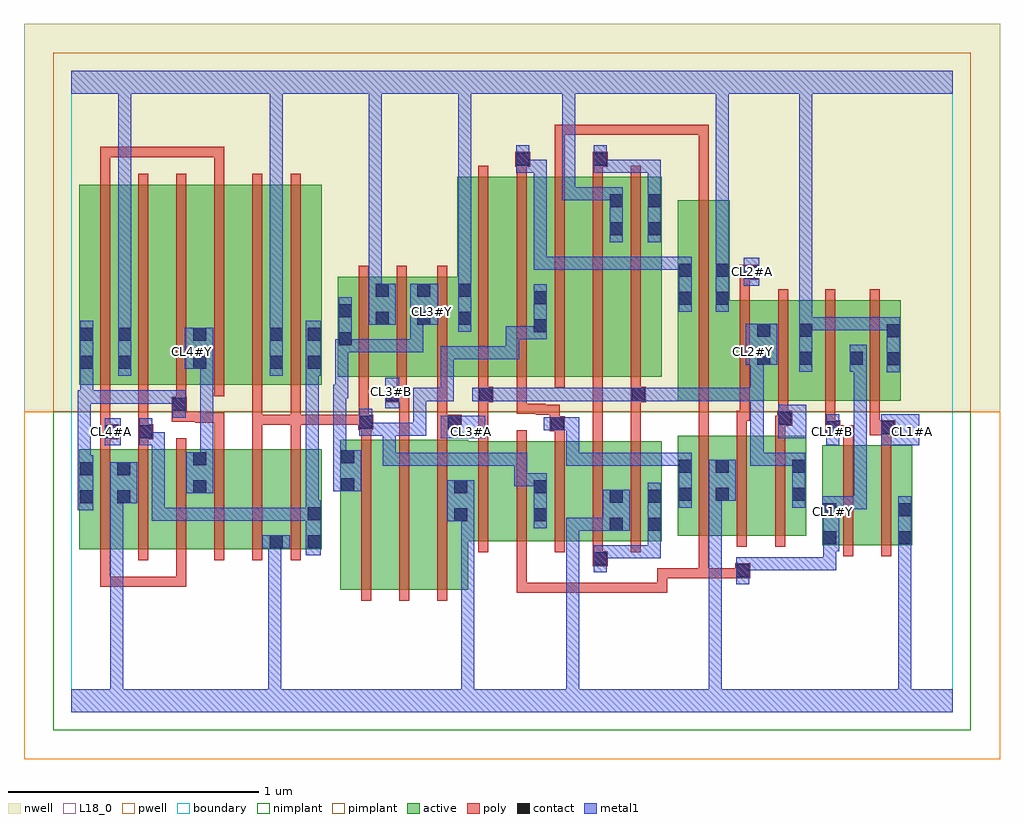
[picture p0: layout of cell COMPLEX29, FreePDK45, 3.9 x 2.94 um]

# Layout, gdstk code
import gdstk
lib = gdstk.Library(unit=1e-6, precision=1e-09)
def R(c, l, rs):  # rectangles x0, y0, x1, y1
    for r in rs: c.add(gdstk.rectangle(r[:2], r[2:], *l))
def A(c, l, x, y, w, h, nx, ny, dx, dy):  # array of equal rectangles
    R(c, l, [(x+i*dx, y+j*dy, x+i*dx+w, y+j*dy+h) for i in range(nx) for j in range(ny)])
active = (1, 0)
pwell = (2, 0)
nwell = (3, 0)
nimplant = (4, 0)
pimplant = (5, 0)
poly = (9, 0)
contact = (10, 0)
metal1 = (11, 0)
L18_0 = (18, 0)
boundary = (235, 0)

complex29 = lib.new_cell('COMPLEX29')
R(complex29, active, [(1.074,0.488,1.254,1.088), (1.254,0.488,1.406,1.088), (1.406,0.488,1.586,1.088), (1.074,0.556,1.134,1.088), (0.032,0.65,0.092,1.05), (0.032,0.65,0.24,1.05), (0.18,0.65,0.364,1.05), (0.364,0.65,0.544,1.05), (0.484,0.65,0.668,1.05), (0.668,0.65,0.848,1.05), (0.788,0.65,1,1.05), (0.788,0.65,0.848,0.752), (0.94,0.65,1,1.05), (2.998,0.666,3.058,1.066), (2.998,0.666,3.178,1.066), (3.178,0.666,3.358,1.066), (3.298,0.666,3.358,1.066), (1.526,0.682,1.722,1.082), (1.722,0.682,1.902,1.082), (1.842,0.682,1.902,1.082), (1.842,0.682,2.026,1.082), (2.026,0.682,2.206,1.082), (2.146,0.682,2.206,1.082), (2.146,0.682,2.358,1.082), (2.298,0.682,2.358,1.082), (0.484,0.69,0.544,1.042), (2.422,0.704,2.482,1.104), (2.422,0.704,2.63,1.104), (2.57,0.704,2.63,1.104), (2.57,0.704,2.754,1.104), (2.754,0.704,2.934,1.104), (2.874,0.704,2.934,1.104), (1.526,0.728,1.586,0.93), (0.18,0.756,0.24,1.002), (2.422,1.244,2.63,2.044), (2.422,1.244,2.482,2.044), (2.57,1.244,2.794,1.644), (2.734,1.244,2.962,1.644), (2.902,1.244,2.962,1.644), (2.902,1.244,3.164,1.644), (3.104,1.244,3.164,1.644), (3.104,1.244,3.312,1.644), (3.252,1.244,3.312,1.644), (2.57,1.256,2.63,1.794), (0.032,1.306,0.244,2.106), (0.032,1.306,0.092,2.044), (0.184,1.306,0.364,2.106), (0.364,1.306,0.544,2.106), (0.484,1.306,0.668,2.106), (0.484,1.306,0.544,2.044), (0.668,1.306,0.848,2.106), (0.788,1.306,0.848,2.106), (0.788,1.306,1,2.106), (0.94,1.306,1,2.106), (1.064,1.338,1.124,1.738), (1.064,1.338,1.272,1.738), (1.212,1.338,1.438,1.738), (1.378,1.338,1.602,1.738), (1.542,1.338,1.722,2.138), (1.722,1.338,1.902,2.138), (1.842,1.338,2.026,2.138), (2.026,1.338,2.206,2.138), (2.146,1.338,2.358,2.138), (2.298,1.338,2.358,2.138), (0.184,1.366,0.244,2.106), (2.734,1.382,2.794,1.644), (1.378,1.392,1.438,1.738), (1.842,1.5,1.902,2.044), (2.146,1.5,2.206,2.1), (1.212,1.542,1.272,1.738), (1.542,1.542,1.602,2.138)])
R(complex29, pwell, [(-0.188,-0.188,3.708,1.2)])
R(complex29, nwell, [(-0.188,1.2,3.708,2.748)])
R(complex29, nimplant, [(-0.072,-0.072,3.592,1.2)])
R(complex29, pimplant, [(-0.072,1.2,3.592,2.632)])
A(complex29, poly, 1.158, 0.444, 0.04, 0.688, 3, 1, 0.152, 0)
A(complex29, poly, 0.116, 0.606, 0.04, 0.488, 6, 1, 0.152, 0)
A(complex29, poly, 1.626, 0.638, 0.04, 0.488, 5, 1, 0.152, 0)
A(complex29, poly, 2.506, 0.66, 0.04, 0.488, 3, 1, 0.152, 0)
A(complex29, poly, 0.116, 1.262, 0.04, 0.888, 6, 1, 0.152, 0)
A(complex29, poly, 1.626, 1.294, 0.04, 0.888, 5, 1, 0.152, 0)
R(complex29, poly, [(1.778,0.476,1.818,0.516), (1.778,0.476,1.818,0.516), (1.778,0.476,1.818,0.516), (1.778,0.476,1.818,0.516), (1.778,0.476,1.818,0.516), (1.778,0.476,1.818,0.678), (1.778,0.476,2.016,0.516), (1.976,0.476,2.016,0.516), (1.976,0.476,2.016,0.516), (1.976,0.476,2.016,0.516), (1.976,0.476,2.138,0.516), (2.098,0.476,2.138,0.516), (2.098,0.476,2.138,0.516), (2.098,0.476,2.138,0.516), (2.098,0.476,2.38,0.516), (2.34,0.476,2.38,0.516), (2.34,0.476,2.38,0.516), (2.34,0.476,2.38,0.516), (2.34,0.476,2.38,0.574), (0.116,0.5,0.156,0.54), (0.116,0.5,0.156,0.54), (0.116,0.5,0.156,0.54), (0.116,0.5,0.156,0.646), (0.116,0.5,0.324,0.54), (0.284,0.5,0.324,0.54), (0.284,0.5,0.324,0.54), (0.284,0.5,0.324,0.54), (0.284,0.5,0.46,0.54), (0.42,0.5,0.46,0.54), (0.42,0.5,0.46,0.646), (2.34,0.534,2.38,0.574), (2.34,0.534,2.546,0.574), (2.506,0.534,2.546,0.574), (2.506,0.534,2.546,0.574), (2.506,0.534,2.546,0.574), (2.506,0.534,2.692,0.574), (2.506,0.534,2.546,0.7), (2.652,0.534,2.692,0.574), (2.652,0.534,2.692,0.574), (2.652,0.534,2.712,0.594), (2.082,0.582,2.142,0.642), (2.082,0.602,2.122,0.678), (3.082,0.622,3.122,1.11), (3.234,0.622,3.274,1.11), (0.116,1.054,0.156,1.13), (0.268,1.054,0.308,1.13), (0.572,1.054,0.612,1.196), (0.724,1.054,0.764,1.188), (0.876,1.054,0.916,1.188), (3.082,1.07,3.122,1.146), (3.234,1.07,3.274,1.146), (1.626,1.086,1.666,1.278), (1.93,1.086,1.97,1.162), (2.082,1.086,2.122,1.162), (2.234,1.086,2.274,1.278), (0.116,1.09,0.19,1.15), (0.268,1.09,0.328,1.15), (1.158,1.092,1.198,1.168), (1.31,1.092,1.35,1.278), (1.462,1.092,1.502,1.168), (3.01,1.106,3.07,1.166), (3.03,1.106,3.07,1.146), (3.03,1.106,3.122,1.146), (3.188,1.106,3.29,1.166), (3.234,1.106,3.274,1.146), (3.234,1.106,3.274,1.146), (2.506,1.108,2.546,1.204), (2.658,1.108,2.698,1.204), (2.81,1.108,2.85,1.184), (0.116,1.11,0.156,1.15), (0.116,1.11,0.156,1.15), (0.116,1.11,0.156,1.302), (0.268,1.11,0.308,1.15), (0.268,1.11,0.308,1.15), (0.268,1.11,0.308,1.302), (1.91,1.122,1.97,1.182), (2.082,1.122,2.122,1.162), (2.082,1.122,2.122,1.162), (2.082,1.122,2.122,1.162), (2.082,1.122,2.122,1.334), (3.01,1.126,3.05,1.24), (3.188,1.126,3.228,1.24), (1.146,1.128,1.206,1.188), (1.462,1.128,1.56,1.188), (1.91,1.142,1.95,1.228), (2.81,1.144,2.858,1.184), (2.818,1.144,2.858,1.184), (2.818,1.144,2.878,1.204), (0.724,1.148,0.764,1.188), (0.724,1.148,0.764,1.188), (0.724,1.148,0.764,1.188), (0.724,1.148,0.764,1.188), (0.724,1.148,0.764,1.188), (0.724,1.148,0.764,1.302), (0.724,1.148,0.916,1.188), (0.876,1.148,0.916,1.188), (0.876,1.148,0.916,1.188), (0.876,1.148,0.916,1.188), (0.876,1.148,0.916,1.188), (0.876,1.148,0.916,1.188), (0.876,1.148,1.188,1.188), (0.876,1.148,0.916,1.302), (1.148,1.148,1.188,1.188), (1.148,1.148,1.188,1.188), (1.148,1.148,1.188,1.188), (1.148,1.148,1.188,1.188), (1.148,1.148,1.188,1.334), (1.462,1.148,1.502,1.188), (1.462,1.148,1.502,1.188), (1.462,1.148,1.502,1.334), (0.496,1.156,0.536,1.196), (0.496,1.156,0.536,1.196), (0.496,1.156,0.612,1.196), (0.496,1.156,0.536,1.2), (0.572,1.156,0.612,1.196), (0.402,1.16,0.462,1.26), (0.422,1.16,0.536,1.2), (2.506,1.164,2.546,1.204), (2.506,1.164,2.546,1.204), (2.506,1.164,2.546,1.204), (2.506,1.164,2.546,1.24), (2.658,1.164,2.698,1.204), (2.658,1.164,2.698,1.204), (2.658,1.164,2.71,1.204), (2.67,1.164,2.71,1.24), (2.822,1.164,2.862,1.24), (1.854,1.188,1.95,1.228), (1.854,1.188,1.894,1.232), (1.91,1.188,1.95,1.228), (1.778,1.192,1.818,1.232), (1.778,1.192,1.894,1.232), (1.778,1.192,1.818,1.334), (2.506,1.2,2.546,2.088), (2.67,1.2,2.71,1.688), (2.822,1.2,2.862,1.688), (3.01,1.2,3.05,1.688), (3.188,1.2,3.228,1.688), (0.42,1.22,0.46,1.302), (1.254,1.238,1.34,1.298), (1.3,1.238,1.34,1.278), (1.3,1.238,1.35,1.278), (1.626,1.238,1.666,1.278), (1.626,1.238,1.666,1.278), (1.626,1.238,1.686,1.298), (2.234,1.238,2.274,1.278), (2.234,1.238,2.274,1.278), (2.234,1.238,2.294,1.298), (1.3,1.258,1.34,1.334), (1.626,1.258,1.666,1.334), (2.234,1.258,2.274,1.334), (1.148,1.294,1.188,1.782), (1.3,1.294,1.34,1.782), (1.462,1.294,1.502,1.782), (2.67,1.648,2.71,1.766), (2.67,1.726,2.742,1.786), (2.506,2.048,2.546,2.344), (0.116,2.11,0.156,2.256), (0.572,2.11,0.612,2.256), (1.778,2.142,1.818,2.218), (1.93,2.142,1.97,2.344), (2.082,2.142,2.122,2.218), (1.772,2.178,1.832,2.238), (2.082,2.178,2.142,2.238), (0.116,2.216,0.156,2.256), (0.116,2.216,0.156,2.256), (0.116,2.216,0.156,2.256), (0.116,2.216,0.262,2.256), (0.222,2.216,0.262,2.256), (0.222,2.216,0.43,2.256), (0.39,2.216,0.43,2.256), (0.39,2.216,0.43,2.256), (0.39,2.216,0.43,2.256), (0.39,2.216,0.612,2.256), (0.572,2.216,0.612,2.256), (0.572,2.216,0.612,2.256), (0.572,2.216,0.612,2.256), (1.93,2.304,1.97,2.344), (1.93,2.304,1.97,2.344), (1.93,2.304,1.97,2.344), (1.93,2.304,2,2.344), (1.96,2.304,2,2.344), (1.96,2.304,2.138,2.344), (2.098,2.304,2.138,2.344), (2.098,2.304,2.138,2.344), (2.098,2.304,2.138,2.344), (2.098,2.304,2.414,2.344), (2.374,2.304,2.414,2.344), (2.374,2.304,2.414,2.344), (2.374,2.304,2.414,2.344), (2.374,2.304,2.546,2.344), (2.506,2.304,2.546,2.344), (2.506,2.304,2.546,2.344), (2.506,2.304,2.546,2.344), (2.506,2.304,2.546,2.344), (2.506,2.304,2.546,2.344)])
R(complex29, contact, [(2.656,0.538,2.708,0.59), (2.086,0.586,2.138,0.638), (0.792,0.654,0.844,0.706), (0.944,0.654,0.996,0.706), (3.002,0.67,3.054,0.722), (3.302,0.67,3.354,0.722), (2.15,0.724,2.202,0.776), (2.302,0.724,2.354,0.776), (1.53,0.762,1.582,0.814), (1.846,0.762,1.898,0.814), (0.944,0.766,0.996,0.818), (3.002,0.782,3.054,0.834), (3.302,0.782,3.354,0.834), (0.036,0.834,0.088,0.886), (0.184,0.834,0.236,0.886), (2.15,0.836,2.202,0.888), (2.302,0.836,2.354,0.888), (2.426,0.844,2.478,0.896), (2.574,0.844,2.626,0.896), (2.878,0.844,2.93,0.896), (0.488,0.874,0.54,0.926), (1.53,0.874,1.582,0.926), (1.846,0.874,1.898,0.926), (1.078,0.882,1.13,0.934), (0.036,0.946,0.088,0.998), (0.184,0.946,0.236,0.998), (2.426,0.956,2.478,1.008), (2.574,0.956,2.626,1.008), (2.878,0.956,2.93,1.008), (0.488,0.986,0.54,1.038), (1.078,0.994,1.13,1.046), (0.134,1.094,0.186,1.146), (0.272,1.094,0.324,1.146), (3.014,1.11,3.066,1.162), (3.234,1.11,3.286,1.162), (1.914,1.126,1.966,1.178), (1.15,1.132,1.202,1.184), (1.504,1.132,1.556,1.184), (2.822,1.148,2.874,1.2), (0.406,1.204,0.458,1.256), (1.258,1.242,1.31,1.294), (1.63,1.242,1.682,1.294), (2.238,1.242,2.29,1.294), (0.036,1.37,0.088,1.422), (0.188,1.37,0.24,1.422), (0.488,1.37,0.54,1.422), (0.792,1.37,0.844,1.422), (0.944,1.37,0.996,1.422), (3.256,1.384,3.308,1.436), (2.738,1.386,2.79,1.438), (2.906,1.386,2.958,1.438), (3.108,1.386,3.16,1.438), (1.068,1.464,1.12,1.516), (0.036,1.482,0.088,1.534), (0.188,1.482,0.24,1.534), (0.488,1.482,0.54,1.534), (0.792,1.482,0.844,1.534), (0.944,1.482,0.996,1.534), (3.256,1.496,3.308,1.548), (2.738,1.498,2.79,1.55), (2.906,1.498,2.958,1.55), (1.846,1.516,1.898,1.568), (1.216,1.546,1.268,1.598), (1.382,1.546,1.434,1.598), (1.546,1.546,1.598,1.598), (1.068,1.576,1.12,1.628), (2.426,1.626,2.478,1.678), (2.574,1.626,2.626,1.678), (1.846,1.628,1.898,1.68), (1.216,1.658,1.268,1.71), (1.382,1.658,1.434,1.71), (1.546,1.658,1.598,1.71), (2.686,1.73,2.738,1.782), (2.426,1.738,2.478,1.79), (2.574,1.738,2.626,1.79), (2.15,1.904,2.202,1.956), (2.302,1.904,2.354,1.956), (2.15,2.016,2.202,2.068), (2.302,2.016,2.354,2.068), (1.776,2.182,1.828,2.234), (2.086,2.182,2.138,2.234)])
R(complex29, metal1, [(0,0,3.52,0.092), (0.156,0.04,0.208,0.092), (0.156,0.04,0.208,0.092), (0.156,0.04,0.208,0.092), (0.156,0.04,0.208,0.092), (0.156,0.04,0.208,0.092), (0.156,0.04,0.208,0.092), (0.156,0.04,0.208,0.886), (0.786,0.04,0.838,0.092), (0.786,0.04,0.838,0.092), (0.786,0.04,0.838,0.092), (0.786,0.04,0.838,0.092), (0.786,0.04,0.838,0.092), (0.786,0.04,0.838,0.092), (0.786,0.04,0.838,0.706), (1.558,0.04,1.61,0.092), (1.558,0.04,1.61,0.092), (1.558,0.04,1.61,0.814), (1.976,0.04,2.028,0.776), (2.546,0.04,2.598,0.896), (3.302,0.04,3.354,0.092), (3.302,0.04,3.354,0.092), (3.302,0.04,3.354,0.092), (3.302,0.04,3.354,0.092), (3.302,0.04,3.354,0.694), (2.656,0.51,2.708,0.618), (2.086,0.558,2.138,0.666), (2.656,0.566,2.708,0.618), (2.656,0.566,2.708,0.618), (2.656,0.566,2.94,0.618), (2.888,0.566,2.94,0.618), (2.888,0.566,2.94,0.618), (2.888,0.566,2.94,0.618), (2.888,0.566,3.054,0.618), (3.002,0.566,3.054,0.618), (3.002,0.566,3.054,0.694), (2.086,0.614,2.138,0.666), (2.086,0.614,2.138,0.666), (2.086,0.614,2.354,0.666), (2.302,0.614,2.354,0.666), (2.302,0.614,2.354,0.666), (2.302,0.614,2.354,0.666), (2.302,0.614,2.354,0.748), (0.936,0.626,0.996,0.846), (3.002,0.642,3.066,0.862), (3.302,0.642,3.354,0.694), (3.302,0.642,3.354,0.694), (3.302,0.642,3.354,0.694), (3.302,0.642,3.354,0.694), (3.302,0.642,3.354,0.694), (3.302,0.642,3.354,0.694), (3.302,0.642,3.354,0.694), (3.302,0.642,3.354,0.694), (3.302,0.642,3.354,0.862), (0.764,0.654,0.872,0.706), (0.786,0.654,0.838,0.706), (0.786,0.654,0.838,0.706), (0.786,0.654,0.838,0.706), (0.786,0.654,0.838,0.706), (0.786,0.654,0.838,0.706), (0.786,0.654,0.838,0.706), (2.302,0.696,2.354,0.916), (1.976,0.724,2.028,0.776), (1.976,0.724,2.028,0.776), (1.976,0.724,2.028,0.776), (1.976,0.724,2.028,0.776), (1.976,0.724,2.028,0.776), (1.976,0.724,2.028,0.776), (1.976,0.724,2.028,0.776), (1.976,0.724,2.028,0.776), (1.976,0.724,2.028,0.776), (1.976,0.724,2.028,0.776), (1.976,0.724,2.028,0.776), (1.976,0.724,2.028,0.776), (1.976,0.724,2.028,0.776), (1.976,0.724,2.138,0.776), (2.086,0.724,2.138,0.776), (2.086,0.724,2.174,0.776), (2.122,0.724,2.23,0.888), (1.846,0.734,1.898,0.954), (1.502,0.762,1.61,0.926), (1.558,0.762,1.61,0.814), (1.558,0.762,1.61,0.814), (1.558,0.762,1.61,0.814), (1.558,0.762,1.61,0.814), (1.558,0.762,1.61,0.814), (1.558,0.762,1.61,0.814), (0.322,0.764,0.374,0.816), (0.322,0.764,0.506,0.816), (0.322,0.764,0.374,1.118), (0.454,0.764,0.506,0.816), (0.454,0.764,0.506,0.816), (0.454,0.764,0.506,0.816), (0.454,0.764,0.648,0.816), (0.596,0.764,0.648,0.816), (0.596,0.764,0.648,0.816), (0.596,0.764,0.648,0.816), (0.596,0.764,0.758,0.816), (0.706,0.764,0.758,0.816), (0.706,0.764,0.758,0.816), (0.706,0.764,0.758,0.816), (0.706,0.764,0.988,0.816), (0.936,0.764,0.988,0.816), (0.936,0.764,0.988,0.816), (0.936,0.794,0.988,0.846), (0.936,0.794,0.988,0.846), (0.936,0.794,0.988,0.846), (0.936,0.794,0.988,0.846), (0.936,0.794,0.988,0.846), (0.936,0.794,0.988,0.846), (0.936,0.794,0.988,1.394), (0.026,0.806,0.088,1.026), (2.998,0.81,3.05,0.862), (2.998,0.81,3.05,0.862), (2.998,0.81,3.05,0.862), (2.998,0.81,3.05,0.862), (2.998,0.81,3.176,0.862), (2.998,0.81,3.054,0.862), (3.002,0.81,3.054,0.862), (3.124,0.81,3.176,0.862), (3.124,0.81,3.176,0.862), (3.124,0.81,3.176,0.862), (3.124,0.81,3.176,0.862), (3.124,0.81,3.176,0.862), (3.124,0.81,3.176,1.41), (2.426,0.816,2.478,1.036), (2.878,0.816,2.93,1.036), (0.156,0.834,0.208,0.886), (0.156,0.834,0.208,0.886), (0.156,0.834,0.208,0.886), (0.156,0.834,0.208,0.886), (0.156,0.834,0.208,0.886), (0.156,0.834,0.208,0.886), (0.156,0.834,0.264,0.998), (2.546,0.844,2.598,0.896), (2.546,0.844,2.598,0.896), (2.546,0.844,2.598,0.896), (2.546,0.844,2.598,0.896), (2.546,0.844,2.598,0.896), (2.546,0.844,2.598,0.896), (2.546,0.844,2.598,0.896), (2.546,0.844,2.598,0.896), (2.546,0.844,2.598,0.896), (2.546,0.844,2.598,0.896), (2.546,0.844,2.598,0.896), (2.546,0.844,2.598,0.896), (2.546,0.844,2.654,1.008), (0.46,0.874,0.568,1.038), (1.046,0.882,1.158,1.046), (1.768,0.902,1.82,1.036), (1.768,0.902,1.898,0.954), (0.026,0.974,0.078,1.026), (0.026,0.974,0.078,1.026), (0.026,0.974,0.078,1.284), (1.244,0.984,1.296,1.036), (1.244,0.984,1.418,1.036), (1.244,0.984,1.296,1.156), (1.366,0.984,1.418,1.036), (1.366,0.984,1.418,1.036), (1.366,0.984,1.418,1.036), (1.366,0.984,1.528,1.036), (1.476,0.984,1.528,1.036), (1.476,0.984,1.528,1.036), (1.476,0.984,1.528,1.036), (1.476,0.984,1.638,1.036), (1.586,0.984,1.638,1.036), (1.586,0.984,1.638,1.036), (1.586,0.984,1.638,1.036), (1.586,0.984,1.82,1.036), (1.976,0.984,2.028,1.036), (1.976,0.984,2.028,1.036), (1.976,0.984,2.028,1.036), (1.976,0.984,2.138,1.036), (1.976,0.984,2.028,1.178), (2.086,0.984,2.138,1.036), (2.086,0.984,2.138,1.036), (2.086,0.984,2.138,1.036), (2.086,0.984,2.272,1.036), (2.22,0.984,2.272,1.036), (2.22,0.984,2.272,1.036), (2.22,0.984,2.272,1.036), (2.22,0.984,2.478,1.036), (2.712,0.984,2.764,1.036), (2.712,0.984,2.93,1.036), (2.712,0.984,2.764,1.294), (2.878,0.984,2.93,1.036), (2.878,0.984,2.93,1.036), (0.516,0.986,0.568,1.038), (0.516,0.986,0.568,1.038), (0.516,0.986,0.568,1.038), (0.516,0.986,0.568,1.038), (0.516,0.986,0.568,1.422), (1.046,0.994,1.098,1.046), (1.046,0.994,1.098,1.046), (1.046,0.994,1.098,1.306), (0.134,1.066,0.198,1.174), (0.272,1.066,0.324,1.174), (0.272,1.066,0.374,1.118), (0.322,1.066,0.374,1.118), (0.322,1.066,0.374,1.118), (0.322,1.066,0.374,1.118), (3.014,1.066,3.066,1.19), (3.234,1.066,3.386,1.19), (1.476,1.094,1.654,1.184), (2.822,1.094,2.934,1.228), (1.15,1.104,1.202,1.212), (1.15,1.104,1.296,1.156), (1.244,1.104,1.296,1.156), (1.244,1.104,1.418,1.156), (1.366,1.104,1.418,1.156), (1.366,1.104,1.418,1.156), (1.366,1.104,1.418,1.156), (1.366,1.104,1.418,1.294), (1.886,1.126,1.994,1.178), (1.942,1.126,2.028,1.178), (1.976,1.126,2.028,1.178), (0.406,1.176,0.458,1.284), (1.254,1.214,1.31,1.334), (0.026,1.232,0.088,1.284), (0.036,1.232,0.088,1.284), (0.036,1.232,0.088,1.284), (0.036,1.232,0.088,1.394), (0.036,1.232,0.264,1.284), (0.212,1.232,0.264,1.284), (0.212,1.232,0.264,1.284), (0.212,1.232,0.264,1.284), (0.212,1.232,0.396,1.284), (0.344,1.232,0.396,1.284), (0.344,1.232,0.458,1.284), (1.366,1.242,1.418,1.294), (1.366,1.242,1.528,1.294), (1.476,1.242,1.528,1.294), (1.476,1.242,1.528,1.294), (1.476,1.242,1.528,1.294), (1.476,1.242,1.528,1.46), (1.602,1.242,1.71,1.294), (1.658,1.242,1.788,1.294), (1.736,1.242,1.788,1.294), (1.736,1.242,1.82,1.294), (1.768,1.242,1.82,1.294), (1.768,1.242,1.902,1.294), (1.85,1.242,1.902,1.294), (1.85,1.242,2.028,1.294), (1.976,1.242,2.028,1.294), (1.976,1.242,2.028,1.294), (1.976,1.242,2.028,1.294), (1.976,1.242,2.152,1.294), (2.1,1.242,2.152,1.294), (2.1,1.242,2.152,1.294), (2.1,1.242,2.152,1.294), (2.1,1.242,2.262,1.294), (2.21,1.242,2.318,1.294), (2.266,1.242,2.318,1.294), (2.266,1.242,2.318,1.294), (2.266,1.242,2.464,1.294), (2.412,1.242,2.464,1.294), (2.412,1.242,2.574,1.294), (2.522,1.242,2.574,1.294), (2.522,1.242,2.574,1.294), (2.522,1.242,2.574,1.294), (2.522,1.242,2.764,1.294), (2.712,1.242,2.764,1.294), (2.712,1.242,2.764,1.294), (2.712,1.242,2.764,1.294), (2.712,1.242,2.764,1.294), (2.712,1.242,2.764,1.294), (2.712,1.242,2.764,1.294), (2.712,1.242,2.764,1.294), (2.712,1.242,2.764,1.438), (1.046,1.254,1.106,1.306), (1.054,1.254,1.106,1.488), (0.036,1.342,0.088,1.562), (0.188,1.342,0.24,1.562), (0.792,1.342,0.844,1.562), (0.936,1.342,0.996,1.562), (3.256,1.356,3.308,1.576), (2.906,1.358,2.958,1.578), (3.108,1.358,3.176,1.466), (3.124,1.358,3.176,1.41), (3.124,1.358,3.176,1.41), (0.454,1.37,0.568,1.534), (0.516,1.37,0.568,1.422), (0.516,1.37,0.568,1.422), (2.694,1.386,2.818,1.55), (2.712,1.386,2.764,1.438), (2.712,1.386,2.764,1.438), (1.476,1.408,1.528,1.46), (1.476,1.408,1.678,1.46), (1.626,1.408,1.678,1.46), (1.626,1.408,1.788,1.46), (1.736,1.408,1.788,1.54), (1.054,1.436,1.12,1.488), (1.068,1.436,1.12,1.488), (1.068,1.436,1.12,1.488), (1.068,1.436,1.12,1.488), (1.068,1.436,1.12,1.488), (1.068,1.436,1.12,1.488), (1.068,1.436,1.12,1.656), (1.068,1.436,1.23,1.488), (1.178,1.436,1.23,1.488), (1.178,1.436,1.406,1.488), (1.354,1.436,1.406,1.488), (1.354,1.436,1.406,1.488), (1.354,1.436,1.406,1.488), (1.354,1.436,1.406,1.598), (1.736,1.488,1.82,1.54), (1.768,1.488,1.82,1.54), (1.768,1.488,1.898,1.54), (1.846,1.488,1.898,1.708), (0.188,1.51,0.24,1.562), (0.188,1.51,0.24,1.562), (0.188,1.51,0.24,1.562), (0.188,1.51,0.24,1.562), (0.188,1.51,0.24,1.562), (0.188,1.51,0.24,1.562), (0.188,1.51,0.24,1.562), (0.188,1.51,0.24,1.562), (0.188,1.51,0.24,2.52), (0.792,1.51,0.844,1.562), (0.792,1.51,0.844,1.562), (0.792,1.51,0.844,1.562), (0.792,1.51,0.844,1.562), (0.792,1.51,0.844,2.52), (1.546,1.518,1.598,1.738), (2.906,1.524,3.05,1.576), (2.998,1.524,3.05,1.576), (2.998,1.524,3.176,1.576), (3.124,1.524,3.176,1.576), (3.124,1.524,3.176,1.576), (3.124,1.524,3.176,1.576), (3.124,1.524,3.308,1.576), (3.256,1.524,3.308,1.576), (3.256,1.524,3.308,1.576), (2.906,1.526,2.958,1.578), (2.906,1.526,2.958,1.578), (2.906,1.526,2.958,1.578), (2.906,1.526,2.958,1.578), (2.906,1.526,2.958,1.578), (2.906,1.526,2.958,1.578), (2.906,1.526,2.958,1.578), (2.906,1.526,2.958,1.578), (2.906,1.526,2.958,1.578), (2.906,1.526,2.958,1.578), (2.906,1.526,2.958,2.52), (1.188,1.546,1.296,1.71), (1.354,1.546,1.466,1.71), (2.426,1.598,2.478,1.818), (2.574,1.598,2.626,1.818), (1.188,1.658,1.24,1.71), (1.188,1.658,1.24,1.71), (1.188,1.658,1.24,1.71), (1.188,1.658,1.24,1.71), (1.188,1.658,1.24,1.71), (1.188,1.658,1.24,1.71), (1.188,1.658,1.24,1.71), (1.188,1.658,1.24,1.71), (1.188,1.658,1.24,1.71), (1.188,1.658,1.24,1.71), (1.188,1.658,1.24,1.71), (1.188,1.658,1.24,1.71), (1.188,1.658,1.24,1.71), (1.188,1.658,1.24,1.71), (1.188,1.658,1.24,2.52), (1.546,1.686,1.598,2.52), (2.686,1.702,2.746,1.814), (1.846,1.766,1.898,1.818), (1.846,1.766,2.028,1.818), (1.846,1.766,1.898,2.206), (1.976,1.766,2.028,1.818), (1.976,1.766,2.028,1.818), (1.976,1.766,2.028,1.818), (1.976,1.766,2.152,1.818), (2.1,1.766,2.152,1.818), (2.1,1.766,2.152,1.818), (2.1,1.766,2.152,1.818), (2.1,1.766,2.262,1.818), (2.21,1.766,2.262,1.818), (2.21,1.766,2.262,1.818), (2.21,1.766,2.262,1.818), (2.21,1.766,2.478,1.818), (2.574,1.766,2.626,1.818), (2.574,1.766,2.626,1.818), (2.574,1.766,2.626,1.818), (2.574,1.766,2.626,1.818), (2.574,1.766,2.626,1.818), (2.574,1.766,2.626,1.818), (2.574,1.766,2.626,1.818), (2.574,1.766,2.626,1.818), (2.574,1.766,2.626,2.52), (2.15,1.876,2.202,2.096), (2.302,1.876,2.354,2.096), (1.96,2.044,2.012,2.096), (1.96,2.044,2.012,2.096), (1.96,2.044,2.012,2.096), (1.96,2.044,2.012,2.096), (1.96,2.044,2.012,2.096), (1.96,2.044,2.012,2.096), (1.96,2.044,2.012,2.096), (1.96,2.044,2.138,2.096), (1.96,2.044,2.012,2.52), (2.086,2.044,2.138,2.096), (2.086,2.044,2.202,2.096), (2.302,2.044,2.354,2.206), (1.776,2.154,1.828,2.262), (1.776,2.154,1.898,2.206), (1.846,2.154,1.898,2.206), (1.846,2.154,1.898,2.206), (1.846,2.154,1.898,2.206), (2.086,2.154,2.138,2.206), (2.086,2.154,2.138,2.206), (2.086,2.154,2.138,2.262), (2.086,2.154,2.354,2.206), (2.302,2.154,2.354,2.206), (2.302,2.154,2.354,2.206), (2.302,2.154,2.354,2.206), (0,2.468,3.52,2.56), (0.792,2.468,0.844,2.52), (0.792,2.468,0.844,2.52), (0.792,2.468,0.844,2.52), (0.792,2.468,0.844,2.52), (1.188,2.468,1.24,2.52), (1.188,2.468,1.24,2.52), (1.546,2.468,1.598,2.52), (1.546,2.468,1.598,2.52), (1.546,2.468,1.598,2.52), (1.546,2.468,1.598,2.52), (1.546,2.468,1.598,2.52), (1.546,2.468,1.598,2.52), (1.546,2.468,1.598,2.52), (1.546,2.468,1.598,2.52), (1.96,2.468,2.012,2.52), (1.96,2.468,2.012,2.52), (2.906,2.468,2.958,2.52), (2.906,2.468,2.958,2.52), (2.906,2.468,2.958,2.52), (2.906,2.468,2.958,2.52), (2.906,2.468,2.958,2.52), (2.906,2.468,2.958,2.52)])
R(complex29, L18_0, [(0,0,3.52,0.092), (0.156,0.04,0.208,0.092), (0.156,0.04,0.208,0.092), (0.156,0.04,0.208,0.092), (0.156,0.04,0.208,0.092), (0.156,0.04,0.208,0.092), (0.156,0.04,0.208,0.092), (0.156,0.04,0.208,0.886), (0.786,0.04,0.838,0.092), (0.786,0.04,0.838,0.092), (0.786,0.04,0.838,0.092), (0.786,0.04,0.838,0.092), (0.786,0.04,0.838,0.092), (0.786,0.04,0.838,0.092), (0.786,0.04,0.838,0.706), (1.558,0.04,1.61,0.092), (1.558,0.04,1.61,0.092), (1.558,0.04,1.61,0.814), (1.976,0.04,2.028,0.776), (2.546,0.04,2.598,0.896), (3.302,0.04,3.354,0.092), (3.302,0.04,3.354,0.092), (3.302,0.04,3.354,0.092), (3.302,0.04,3.354,0.092), (3.302,0.04,3.354,0.694), (2.656,0.51,2.708,0.618), (2.656,0.566,2.708,0.618), (2.656,0.566,2.708,0.618), (2.656,0.566,2.94,0.618), (2.888,0.566,2.94,0.618), (2.888,0.566,2.94,0.618), (2.888,0.566,2.94,0.618), (2.888,0.566,3.054,0.618), (3.002,0.566,3.054,0.618), (3.002,0.566,3.054,0.694), (3.002,0.642,3.066,0.862), (3.302,0.642,3.354,0.694), (3.302,0.642,3.354,0.694), (3.302,0.642,3.354,0.694), (3.302,0.642,3.354,0.694), (3.302,0.642,3.354,0.694), (3.302,0.642,3.354,0.694), (3.302,0.642,3.354,0.694), (3.302,0.642,3.354,0.694), (3.302,0.642,3.354,0.862), (0.764,0.654,0.872,0.706), (0.786,0.654,0.838,0.706), (0.786,0.654,0.838,0.706), (0.786,0.654,0.838,0.706), (0.786,0.654,0.838,0.706), (0.786,0.654,0.838,0.706), (0.786,0.654,0.838,0.706), (1.976,0.724,2.028,0.776), (1.976,0.724,2.028,0.776), (1.976,0.724,2.028,0.776), (1.976,0.724,2.028,0.776), (1.976,0.724,2.028,0.776), (1.976,0.724,2.028,0.776), (1.976,0.724,2.028,0.776), (1.976,0.724,2.028,0.776), (1.976,0.724,2.028,0.776), (1.976,0.724,2.028,0.776), (1.976,0.724,2.028,0.776), (1.976,0.724,2.028,0.776), (1.976,0.724,2.028,0.776), (1.976,0.724,2.138,0.776), (2.086,0.724,2.138,0.776), (2.086,0.724,2.174,0.776), (2.122,0.724,2.23,0.888), (1.502,0.762,1.61,0.926), (1.558,0.762,1.61,0.814), (1.558,0.762,1.61,0.814), (1.558,0.762,1.61,0.814), (1.558,0.762,1.61,0.814), (1.558,0.762,1.61,0.814), (1.558,0.762,1.61,0.814), (3.014,0.774,3.066,0.826), (2.998,0.81,3.05,0.862), (2.998,0.81,3.05,0.862), (2.998,0.81,3.05,0.862), (2.998,0.81,3.05,0.862), (2.998,0.81,3.176,0.862), (2.998,0.81,3.054,0.862), (3.002,0.81,3.054,0.862), (3.124,0.81,3.176,0.862), (3.124,0.81,3.176,0.862), (3.124,0.81,3.176,0.862), (3.124,0.81,3.176,0.862), (3.124,0.81,3.176,0.862), (3.124,0.81,3.176,1.41), (2.878,0.816,2.93,1.036), (0.156,0.834,0.208,0.886), (0.156,0.834,0.208,0.886), (0.156,0.834,0.208,0.886), (0.156,0.834,0.208,0.886), (0.156,0.834,0.208,0.886), (0.156,0.834,0.208,0.886), (0.156,0.834,0.264,0.998), (2.546,0.844,2.598,0.896), (2.546,0.844,2.598,0.896), (2.546,0.844,2.598,0.896), (2.546,0.844,2.598,0.896), (2.546,0.844,2.598,0.896), (2.546,0.844,2.598,0.896), (2.546,0.844,2.598,0.896), (2.546,0.844,2.598,0.896), (2.546,0.844,2.598,0.896), (2.546,0.844,2.598,0.896), (2.546,0.844,2.598,0.896), (2.546,0.844,2.598,0.896), (2.546,0.844,2.654,1.008), (0.46,0.874,0.568,1.038), (1.046,0.882,1.158,1.046), (2.712,0.984,2.764,1.036), (2.712,0.984,2.764,1.294), (2.712,0.984,2.93,1.036), (2.878,0.984,2.93,1.036), (2.878,0.984,2.93,1.036), (0.516,0.986,0.568,1.038), (0.516,0.986,0.568,1.038), (0.516,0.986,0.568,1.038), (0.516,0.986,0.568,1.038), (0.516,0.986,0.568,1.422), (1.046,0.994,1.098,1.046), (1.046,0.994,1.098,1.046), (1.046,0.994,1.098,1.306), (0.134,1.066,0.198,1.174), (3.014,1.066,3.066,1.19), (3.234,1.066,3.386,1.19), (0.134,1.094,0.186,1.146), (1.476,1.094,1.654,1.184), (1.574,1.094,1.626,1.146), (2.822,1.094,2.934,1.228), (2.854,1.094,2.906,1.146), (3.014,1.094,3.066,1.146), (3.334,1.094,3.386,1.146), (1.254,1.214,1.31,1.334), (1.602,1.242,1.71,1.294), (1.658,1.242,1.788,1.294), (1.736,1.242,1.788,1.294), (1.736,1.242,1.82,1.294), (1.768,1.242,1.82,1.294), (1.768,1.242,1.902,1.294), (1.85,1.242,1.902,1.294), (1.85,1.242,2.028,1.294), (1.976,1.242,2.028,1.294), (1.976,1.242,2.028,1.294), (1.976,1.242,2.028,1.294), (1.976,1.242,2.152,1.294), (2.1,1.242,2.152,1.294), (2.1,1.242,2.152,1.294), (2.1,1.242,2.152,1.294), (2.1,1.242,2.262,1.294), (2.21,1.242,2.318,1.294), (2.266,1.242,2.318,1.294), (2.266,1.242,2.318,1.294), (2.266,1.242,2.464,1.294), (2.412,1.242,2.464,1.294), (2.412,1.242,2.574,1.294), (2.522,1.242,2.574,1.294), (2.522,1.242,2.574,1.294), (2.522,1.242,2.574,1.294), (2.522,1.242,2.764,1.294), (2.712,1.242,2.764,1.294), (2.712,1.242,2.764,1.294), (2.712,1.242,2.764,1.294), (2.712,1.242,2.764,1.294), (2.712,1.242,2.764,1.294), (2.712,1.242,2.764,1.294), (2.712,1.242,2.764,1.294), (2.712,1.242,2.764,1.438), (1.046,1.254,1.106,1.306), (1.054,1.254,1.106,1.488), (1.254,1.254,1.306,1.306), (0.188,1.342,0.24,1.562), (0.792,1.342,0.844,1.562), (3.256,1.356,3.308,1.576), (2.906,1.358,2.958,1.578), (3.108,1.358,3.176,1.466), (3.124,1.358,3.176,1.41), (3.124,1.358,3.176,1.41), (0.454,1.37,0.568,1.534), (0.516,1.37,0.568,1.422), (0.516,1.37,0.568,1.422), (2.694,1.386,2.818,1.55), (2.712,1.386,2.764,1.438), (2.712,1.386,2.764,1.438), (0.454,1.414,0.506,1.466), (2.694,1.414,2.746,1.466), (1.054,1.436,1.12,1.488), (1.068,1.436,1.12,1.488), (1.068,1.436,1.12,1.488), (1.068,1.436,1.12,1.488), (1.068,1.436,1.12,1.488), (1.068,1.436,1.12,1.488), (1.068,1.436,1.12,1.656), (1.068,1.436,1.23,1.488), (1.178,1.436,1.23,1.488), (1.178,1.436,1.406,1.488), (1.354,1.436,1.406,1.488), (1.354,1.436,1.406,1.488), (1.354,1.436,1.406,1.488), (1.354,1.436,1.406,1.598), (0.188,1.51,0.24,1.562), (0.188,1.51,0.24,1.562), (0.188,1.51,0.24,1.562), (0.188,1.51,0.24,1.562), (0.188,1.51,0.24,1.562), (0.188,1.51,0.24,1.562), (0.188,1.51,0.24,1.562), (0.188,1.51,0.24,1.562), (0.188,1.51,0.24,2.52), (0.792,1.51,0.844,1.562), (0.792,1.51,0.844,1.562), (0.792,1.51,0.844,1.562), (0.792,1.51,0.844,1.562), (0.792,1.51,0.844,2.52), (1.546,1.518,1.598,1.738), (2.906,1.524,3.05,1.576), (2.998,1.524,3.05,1.576), (2.998,1.524,3.176,1.576), (3.124,1.524,3.176,1.576), (3.124,1.524,3.176,1.576), (3.124,1.524,3.176,1.576), (3.124,1.524,3.308,1.576), (3.256,1.524,3.308,1.576), (3.256,1.524,3.308,1.576), (2.906,1.526,2.958,1.578), (2.906,1.526,2.958,1.578), (2.906,1.526,2.958,1.578), (2.906,1.526,2.958,1.578), (2.906,1.526,2.958,1.578), (2.906,1.526,2.958,1.578), (2.906,1.526,2.958,1.578), (2.906,1.526,2.958,1.578), (2.906,1.526,2.958,1.578), (2.906,1.526,2.958,1.578), (2.906,1.526,2.958,2.52), (1.188,1.546,1.296,1.71), (1.354,1.546,1.466,1.71), (1.414,1.574,1.466,1.626), (2.574,1.598,2.626,1.818), (1.188,1.658,1.24,1.71), (1.188,1.658,1.24,1.71), (1.188,1.658,1.24,1.71), (1.188,1.658,1.24,1.71), (1.188,1.658,1.24,1.71), (1.188,1.658,1.24,1.71), (1.188,1.658,1.24,1.71), (1.188,1.658,1.24,1.71), (1.188,1.658,1.24,1.71), (1.188,1.658,1.24,1.71), (1.188,1.658,1.24,1.71), (1.188,1.658,1.24,1.71), (1.188,1.658,1.24,1.71), (1.188,1.658,1.24,1.71), (1.188,1.658,1.24,2.52), (1.546,1.686,1.598,2.52), (2.686,1.702,2.746,1.814), (2.694,1.734,2.746,1.786), (2.574,1.766,2.626,1.818), (2.574,1.766,2.626,1.818), (2.574,1.766,2.626,1.818), (2.574,1.766,2.626,1.818), (2.574,1.766,2.626,1.818), (2.574,1.766,2.626,1.818), (2.574,1.766,2.626,1.818), (2.574,1.766,2.626,1.818), (2.574,1.766,2.626,2.52), (2.15,1.876,2.202,2.096), (1.96,2.044,2.012,2.096), (1.96,2.044,2.012,2.096), (1.96,2.044,2.012,2.096), (1.96,2.044,2.012,2.096), (1.96,2.044,2.012,2.096), (1.96,2.044,2.012,2.096), (1.96,2.044,2.012,2.096), (1.96,2.044,2.138,2.096), (1.96,2.044,2.012,2.52), (2.086,2.044,2.138,2.096), (2.086,2.044,2.202,2.096), (0,2.468,3.52,2.56), (0.792,2.468,0.844,2.52), (0.792,2.468,0.844,2.52), (0.792,2.468,0.844,2.52), (0.792,2.468,0.844,2.52), (1.188,2.468,1.24,2.52), (1.188,2.468,1.24,2.52), (1.546,2.468,1.598,2.52), (1.546,2.468,1.598,2.52), (1.546,2.468,1.598,2.52), (1.546,2.468,1.598,2.52), (1.546,2.468,1.598,2.52), (1.546,2.468,1.598,2.52), (1.546,2.468,1.598,2.52), (1.546,2.468,1.598,2.52), (1.96,2.468,2.012,2.52), (1.96,2.468,2.012,2.52), (2.906,2.468,2.958,2.52), (2.906,2.468,2.958,2.52), (2.906,2.468,2.958,2.52), (2.906,2.468,2.958,2.52), (2.906,2.468,2.958,2.52), (2.906,2.468,2.958,2.52)])
R(complex29, boundary, [(0,0,3.52,2.56)])
complex29.add(gdstk.Label('CL1#A', (3.36,1.12), layer=11, texttype=0))
complex29.add(gdstk.Label('CL1#B', (3.04,1.12), layer=11, texttype=0))
complex29.add(gdstk.Label('CL1#Y', (3.04,0.8), layer=11, texttype=0))
complex29.add(gdstk.Label('CL2#A', (2.72,1.76), layer=11, texttype=0))
complex29.add(gdstk.Label('CL2#B', (2.88,1.12), layer=11, texttype=0))
complex29.add(gdstk.Label('CL2#Y', (2.72,1.44), layer=11, texttype=0))
complex29.add(gdstk.Label('CL3#A', (1.6,1.12), layer=11, texttype=0))
complex29.add(gdstk.Label('CL3#B', (1.28,1.28), layer=11, texttype=0))
complex29.add(gdstk.Label('CL3#Y', (1.44,1.6), layer=11, texttype=0))
complex29.add(gdstk.Label('CL4#A', (0.16,1.12), layer=11, texttype=0))
complex29.add(gdstk.Label('CL4#Y', (0.48,1.44), layer=11, texttype=0))

lib.write_gds('COMPLEX29.gds')
